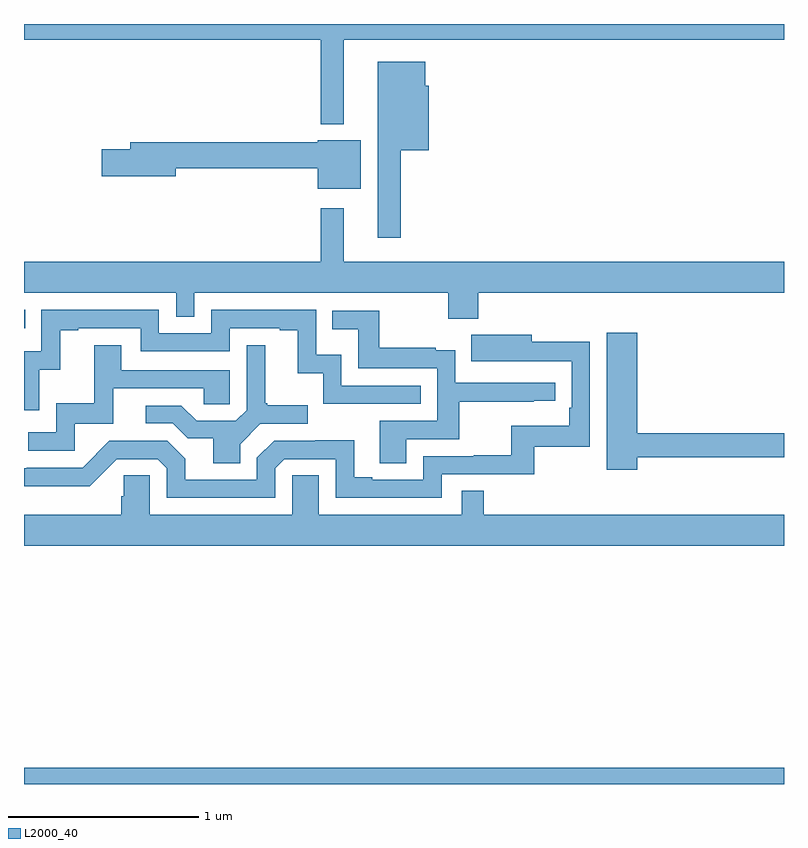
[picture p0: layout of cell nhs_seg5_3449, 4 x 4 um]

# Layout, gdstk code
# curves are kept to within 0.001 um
import gdstk
lib = gdstk.Library(unit=1e-6, precision=1e-09)
def R(c, l, rs):  # rectangles x0, y0, x1, y1
    for r in rs: c.add(gdstk.rectangle(r[:2], r[2:], *l))
def P(c, l, *ps):  # polygons
    for p in ps: c.add(gdstk.Polygon(p, *l))
L2000_40 = (2000, 40)

nhs_seg5_3449 = lib.new_cell('nhs_seg5_3449')
R(nhs_seg5_3449, L2000_40, [(313,896.799,317,896.884), (313,899.199,313.007,899.295)])
P(nhs_seg5_3449, L2000_40, [(314.683,900.716),(317,900.716),(317,900.799),(313,900.799),(313,900.716),(314.562,900.716),(314.562,900.272),(314.683,900.272)],
  [(314.983,900.134),(315.13,900.134),(315.13,900.474),(315.112,900.474),(315.112,900.601),(314.861,900.601),(314.861,899.673),(314.983,899.673)],
  [(314.773,900.187),(314.546,900.187),(314.546,900.176),(313.559,900.176),(313.559,900.14),(313.41,900.14),(313.41,899.998),(313.798,899.998),(313.798,900.04),(314.546,900.04),(314.546,899.933),(314.773,899.933)],
  [(315.392,899.384),(317,899.384),(317,899.548),(314.683,899.548),(314.683,899.83),(314.562,899.83),(314.562,899.548),(313,899.548),(313,899.384),(313.8,899.384),(313.8,899.257),(313.896,899.257),(313.896,899.384),(315.232,899.384),(315.232,899.249),(315.392,899.249)],
  [(313.08,898.979),(313.19,898.979),(313.19,899.187),(313.285,899.187),(313.285,899.199),(313.614,899.199),(313.614,899.076),(314.082,899.076),(314.082,899.199),(314.345,899.199),(314.345,899.187),(314.441,899.187),(314.441,898.961),(314.574,898.961),(314.574,898.8),(315.089,898.8),(315.089,898.896),(314.67,898.896),(314.67,899.059),(314.538,899.059),(314.538,899.295),(313.986,899.295),(313.986,899.172),(313.71,899.172),(313.71,899.295),(313.092,899.295),(313.092,899.076),(313,899.076),(313,898.767),(313.08,898.767)],
  [(315.013,898.614),(315.29,898.614),(315.29,898.81),(315.683,898.81),(315.683,898.815),(315.796,898.815),(315.796,898.911),(315.27,898.911),(315.27,899.083),(315.167,899.083),(315.167,899.095),(314.869,899.095),(314.869,899.289),(314.623,899.289),(314.623,899.192),(314.758,899.192),(314.758,898.986),(315.174,898.986),(315.174,898.71),(314.873,898.71),(314.873,898.486),(315.013,898.486)],
  [(316.228,898.518),(317,898.518),(317,898.646),(316.228,898.646),(316.228,899.173),(316.067,899.173),(316.067,898.452),(316.228,898.452)],
  [(314.322,898.461),(314.37,898.509),(314.64,898.509),(314.64,898.305),(315.198,898.305),(315.198,898.428),(315.685,898.428),(315.685,898.575),(315.978,898.575),(315.978,899.126),(315.673,899.126),(315.673,899.164),(315.355,899.164),(315.355,899.024),(315.882,899.025),(315.882,898.78),(315.869,898.78),(315.869,898.684),(315.564,898.684),(315.564,898.529),(315.367,898.529),(315.367,898.524),(315.102,898.524),(315.102,898.401),(314.833,898.401),(314.833,898.414),(314.737,898.414),(314.737,898.607),(314.532,898.607),(314.532,898.605),(314.316,898.605),(314.226,898.515),(314.226,898.401),(313.849,898.401),(313.849,898.511),(313.755,898.605),(313.449,898.605),(313.308,898.464),(313.015,898.464),(313.015,898.461),(313,898.461),(313,898.365),(313.11,898.365),(313.11,898.367),(313.346,898.367),(313.488,898.509),(313.704,898.509),(313.752,898.461),(313.752,898.305),(314.322,898.305)],
  [(313.266,898.695),(313.471,898.695),(313.471,898.881),(313.945,898.881),(313.945,898.797),(314.082,898.797),(314.082,898.977),(313.513,898.977),(313.513,899.107),(313.369,899.107),(313.369,898.804),(313.17,898.804),(313.17,898.65),(313.023,898.65),(313.023,898.554),(313.266,898.554)],
  [(314.137,898.588),(314.244,898.695),(314.494,898.695),(314.494,898.792),(314.281,898.792),(314.281,898.804),(314.269,898.804),(314.269,899.107),(314.172,899.107),(314.172,898.767),(314.115,898.71),(313.909,898.71),(313.828,898.791),(313.641,898.791),(313.641,898.698),(313.782,898.698),(313.862,898.618),(313.997,898.618),(313.997,898.486),(314.137,898.486)],
  [(315.303,898.343),(315.303,898.216),(314.551,898.216),(314.551,898.424),(314.412,898.424),(314.412,898.216),(313.662,898.216),(313.662,898.424),(313.525,898.424),(313.525,898.314),(313.511,898.314),(313.511,898.216),(313,898.216),(313,898.052),(317,898.052),(317,898.216),(315.419,898.216),(315.419,898.343)])

lib.write_gds('nhs_seg5_3449.gds')
